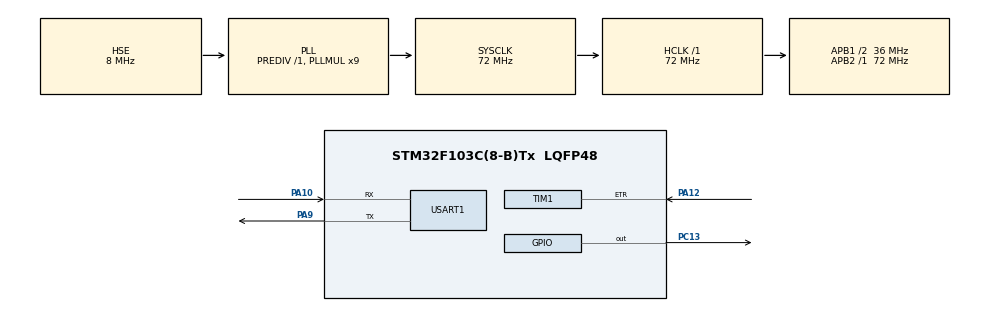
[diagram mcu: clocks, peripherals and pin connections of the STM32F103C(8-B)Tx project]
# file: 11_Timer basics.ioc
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Mcu.Family=STM32F1
Mcu.Name=STM32F103C(8-B)Tx
Mcu.Package=LQFP48
NVIC.PriorityGroup=NVIC_PRIORITYGROUP_4
NVIC.TIM2_IRQn=true\:0\:0\:false\:false\:true\:true\:true\:true
PA10.Mode=Asynchronous
PA10.Signal=USART1_RX
PA12.Signal=S_TIM1_ETR
PA13.Mode=Serial_Wire
PA13.Signal=SYS_JTMS-SWDIO
PA14.Mode=Serial_Wire
PA14.Signal=SYS_JTCK-SWCLK
PA9.Mode=Asynchronous
PA9.Signal=USART1_TX
PC13-TAMPER-RTC.Signal=GPIO_Output
PD0-OSC_IN.Mode=HSE-External-Oscillator
PD0-OSC_IN.Signal=RCC_OSC_IN
PD1-OSC_OUT.Mode=HSE-External-Oscillator
PD1-OSC_OUT.Signal=RCC_OSC_OUT
ProjectManager.HeapSize=0x200
ProjectManager.StackSize=0x400
ProjectManager.TargetToolchain=STM32CubeIDE
RCC.AHBFreq_Value=72000000
RCC.APB1CLKDivider=RCC_HCLK_DIV2
RCC.APB1Freq_Value=36000000
RCC.APB1TimFreq_Value=72000000
RCC.APB2Freq_Value=72000000
RCC.APB2TimFreq_Value=72000000
RCC.HCLKFreq_Value=72000000
RCC.PLLMUL=RCC_PLL_MUL9
RCC.PLLSourceVirtual=RCC_PLLSOURCE_HSE
RCC.SYSCLKFreq_VALUE=72000000
RCC.SYSCLKSource=RCC_SYSCLKSOURCE_PLLCLK
RCC.USBFreq_Value=72000000
SH.S_TIM1_ETR.0=TIM1_ETR,ClockSourceETR_Mode2
TIM1.Period=65535
TIM2.Period=4999
TIM2.Prescaler=7199
USART1.VirtualMode=VM_ASYNC
VP_TIM2_VS_ClockSourceINT.Mode=Internal
board=custom

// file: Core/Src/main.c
/* USER CODE BEGIN Header */
/**
  ******************************************************************************
  * @file           : main.c
  * @brief          : Main program body
  ******************************************************************************
  * @attention
  *
  * Copyright (c) 2022 STMicroelectronics.
  * All rights reserved.
  *
  * This software is licensed under terms that can be found in the LICENSE file
  * in the root directory of this software component.
  * If no LICENSE file comes with this software, it is provided AS-IS.
  *
  ******************************************************************************
  */
/* USER CODE END Header */
#include "main.h"

/* USER CODE BEGIN Includes */
#include "stdio_usart.h"	// Used for redirecting printf
#include <stdbool.h>
/* USER CODE END Includes */

 TIM_HandleTypeDef htim1;
TIM_HandleTypeDef htim2;

UART_HandleTypeDef huart1;

void SystemClock_Config(void);
static void MX_GPIO_Init(void);
static void MX_TIM2_Init(void);
static void MX_USART1_UART_Init(void);
static void MX_TIM1_Init(void);

/* USER CODE BEGIN 0 */
uint16_t counter = 0;									// Variable for measuring time
bool inrpt_sgnl_lvl = false, state_update = false;		// control flags
/* USER CODE END 0 */

int main(void)
{

  /* MCU Configuration--------------------------------------------------------*/

  /* Reset of all peripherals, Initializes the Flash interface and the Systick. */
  HAL_Init();

  /* Configure the system clock */
  SystemClock_Config();

  /* Initialize all configured peripherals */
  MX_GPIO_Init();
  MX_TIM2_Init();
  MX_USART1_UART_Init();
  MX_TIM1_Init();
  /* USER CODE BEGIN 2 */
  	RetargetInit(&huart1);				// initializing the stdio retargetting
	HAL_TIM_Base_Start_IT(&htim2);		// start TIM2
	HAL_TIM_Base_Start(&htim1);			// start TIM1

	printf("%s\n\r", "Start!\r\n");		// print a message that indicate the start of the program execution
	uint16_t push_counter = 0;			// Variable for measuring the number of times the push-button is pressed
  /* USER CODE END 2 */

  /* Infinite loop */
  /* USER CODE BEGIN WHILE */
  while (1)
  {
	  if(state_update)													// check if values are updated
	  {
		  if(inrpt_sgnl_lvl)											// check if level of the interrupt signal is high
		  {
			  counter++;												// increment the counter value
			  HAL_GPIO_WritePin(GPIOC, GPIO_PIN_13, GPIO_PIN_SET);		// set pin13 to high logic
		  }
		  else if(!inrpt_sgnl_lvl)										// check if level of the interrupt signal is low
		  {
			  HAL_GPIO_WritePin(GPIOC, GPIO_PIN_13, GPIO_PIN_RESET);	// set pin13 to logic logic
			  printf("Elapsed Time (sec):  %d\r\n", counter);			// print the Elapsed time
		  }
		  state_update = false;											// reset the update flag
	  }

	  if(push_counter != __HAL_TIM_GetCounter(&htim1))					// check if the (button)counter has changed
	  {
		push_counter = __HAL_TIM_GetCounter(&htim1);					// store the new (button)counter value
		printf("button is pushed! push count:  %d\r\n", push_counter);	// print the value of (button)counter value
	  }
    /* USER CODE END WHILE */

  }
}

void SystemClock_Config(void)
{
  RCC_OscInitTypeDef RCC_OscInitStruct = {0};
  RCC_ClkInitTypeDef RCC_ClkInitStruct = {0};

  /** Initializes the RCC Oscillators according to the specified parameters
  * in the RCC_OscInitTypeDef structure.
  */
  RCC_OscInitStruct.OscillatorType = RCC_OSCILLATORTYPE_HSE;
  RCC_OscInitStruct.HSEState = RCC_HSE_ON;
  RCC_OscInitStruct.HSEPredivValue = RCC_HSE_PREDIV_DIV1;
  RCC_OscInitStruct.HSIState = RCC_HSI_ON;
  RCC_OscInitStruct.PLL.PLLState = RCC_PLL_ON;
  RCC_OscInitStruct.PLL.PLLSource = RCC_PLLSOURCE_HSE;
  RCC_OscInitStruct.PLL.PLLMUL = RCC_PLL_MUL9;
  if (HAL_RCC_OscConfig(&RCC_OscInitStruct) != HAL_OK)
  {
    Error_Handler();
  }

  /** Initializes the CPU, AHB and APB buses clocks
  */
  RCC_ClkInitStruct.ClockType = RCC_CLOCKTYPE_HCLK|RCC_CLOCKTYPE_SYSCLK
                              |RCC_CLOCKTYPE_PCLK1|RCC_CLOCKTYPE_PCLK2;
  RCC_ClkInitStruct.SYSCLKSource = RCC_SYSCLKSOURCE_PLLCLK;
  RCC_ClkInitStruct.AHBCLKDivider = RCC_SYSCLK_DIV1;
  RCC_ClkInitStruct.APB1CLKDivider = RCC_HCLK_DIV2;
  RCC_ClkInitStruct.APB2CLKDivider = RCC_HCLK_DIV1;

  if (HAL_RCC_ClockConfig(&RCC_ClkInitStruct, FLASH_LATENCY_2) != HAL_OK)
  {
    Error_Handler();
  }
}

static void MX_TIM1_Init(void)
{

  TIM_ClockConfigTypeDef sClockSourceConfig = {0};
  TIM_MasterConfigTypeDef sMasterConfig = {0};

  htim1.Instance = TIM1;
  htim1.Init.Prescaler = 0;
  htim1.Init.CounterMode = TIM_COUNTERMODE_UP;
  htim1.Init.Period = 65535;
  htim1.Init.ClockDivision = TIM_CLOCKDIVISION_DIV1;
  htim1.Init.RepetitionCounter = 0;
  htim1.Init.AutoReloadPreload = TIM_AUTORELOAD_PRELOAD_DISABLE;
  if (HAL_TIM_Base_Init(&htim1) != HAL_OK)
  {
    Error_Handler();
  }
  sClockSourceConfig.ClockSource = TIM_CLOCKSOURCE_ETRMODE2;
  sClockSourceConfig.ClockPolarity = TIM_CLOCKPOLARITY_NONINVERTED;
  sClockSourceConfig.ClockPrescaler = TIM_CLOCKPRESCALER_DIV1;
  sClockSourceConfig.ClockFilter = 0;
  if (HAL_TIM_ConfigClockSource(&htim1, &sClockSourceConfig) != HAL_OK)
  {
    Error_Handler();
  }
  sMasterConfig.MasterOutputTrigger = TIM_TRGO_RESET;
  sMasterConfig.MasterSlaveMode = TIM_MASTERSLAVEMODE_DISABLE;
  if (HAL_TIMEx_MasterConfigSynchronization(&htim1, &sMasterConfig) != HAL_OK)
  {
    Error_Handler();
  }

}

static void MX_TIM2_Init(void)
{

  TIM_ClockConfigTypeDef sClockSourceConfig = {0};
  TIM_MasterConfigTypeDef sMasterConfig = {0};

  htim2.Instance = TIM2;
  htim2.Init.Prescaler = 7199;
  htim2.Init.CounterMode = TIM_COUNTERMODE_UP;
  htim2.Init.Period = 4999;
  htim2.Init.ClockDivision = TIM_CLOCKDIVISION_DIV1;
  htim2.Init.AutoReloadPreload = TIM_AUTORELOAD_PRELOAD_DISABLE;
  if (HAL_TIM_Base_Init(&htim2) != HAL_OK)
  {
    Error_Handler();
  }
  sClockSourceConfig.ClockSource = TIM_CLOCKSOURCE_INTERNAL;
  if (HAL_TIM_ConfigClockSource(&htim2, &sClockSourceConfig) != HAL_OK)
  {
    Error_Handler();
  }
  sMasterConfig.MasterOutputTrigger = TIM_TRGO_RESET;
  sMasterConfig.MasterSlaveMode = TIM_MASTERSLAVEMODE_DISABLE;
  if (HAL_TIMEx_MasterConfigSynchronization(&htim2, &sMasterConfig) != HAL_OK)
  {
    Error_Handler();
  }

}

static void MX_USART1_UART_Init(void)
{

  huart1.Instance = USART1;
  huart1.Init.BaudRate = 115200;
  huart1.Init.WordLength = UART_WORDLENGTH_8B;
  huart1.Init.StopBits = UART_STOPBITS_1;
  huart1.Init.Parity = UART_PARITY_NONE;
  huart1.Init.Mode = UART_MODE_TX_RX;
  huart1.Init.HwFlowCtl = UART_HWCONTROL_NONE;
  huart1.Init.OverSampling = UART_OVERSAMPLING_16;
  if (HAL_UART_Init(&huart1) != HAL_OK)
  {
    Error_Handler();
  }

}

static void MX_GPIO_Init(void)
{
  GPIO_InitTypeDef GPIO_InitStruct = {0};

  /* GPIO Ports Clock Enable */
  __HAL_RCC_GPIOC_CLK_ENABLE();
  __HAL_RCC_GPIOD_CLK_ENABLE();
  __HAL_RCC_GPIOA_CLK_ENABLE();

  /*Configure GPIO pin Output Level */
  HAL_GPIO_WritePin(GPIOC, GPIO_PIN_13, GPIO_PIN_RESET);

  /*Configure GPIO pin : PC13 */
  GPIO_InitStruct.Pin = GPIO_PIN_13;
  GPIO_InitStruct.Mode = GPIO_MODE_OUTPUT_PP;
  GPIO_InitStruct.Pull = GPIO_NOPULL;
  GPIO_InitStruct.Speed = GPIO_SPEED_FREQ_LOW;
  HAL_GPIO_Init(GPIOC, &GPIO_InitStruct);

}

/* USER CODE BEGIN 4 */
/* update event interrupt handler callback */
void HAL_TIM_PeriodElapsedCallback(TIM_HandleTypeDef* htim)
{
	inrpt_sgnl_lvl = !inrpt_sgnl_lvl;		// toggle the interrupt signal's value
	state_update = true;					// set the update flag
}
/* USER CODE END 4 */

void Error_Handler(void)
{
  __disable_irq();
  while (1)
  {
  }
}
